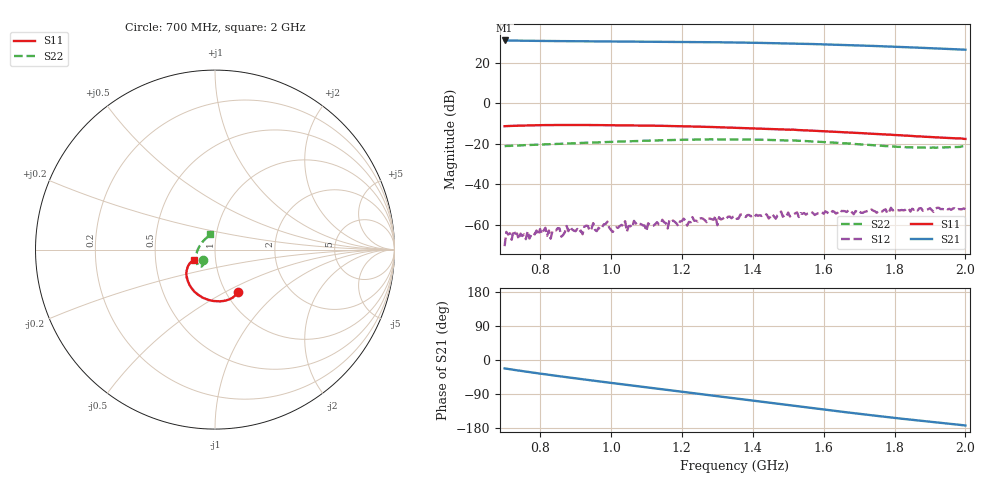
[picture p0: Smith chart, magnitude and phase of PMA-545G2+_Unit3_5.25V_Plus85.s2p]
!Mini-Circuits Laboratory
!S-Parameters
!Model: PMA-545G2+
!Run / Lot / Date Code: N/A / N/A / NA
!Fixture: NA; TEST BOARD: TB-607+
!AUTO PORT EXTENSION DONE: PORT<1>=120.99ps; PORT<2>=143.047ps
!Network Analyzer: PNA-X N5242A - 423 4 ports;  Serial number: 71256
!Date: 1/11/2011
!S/N: Unit# 3
# Hz  S  dB  R  50
!Frequency  S11 dB  S11 Deg  S21 dB  S21 Deg  S12 dB  S12 Deg  S22 dB  S22 Deg
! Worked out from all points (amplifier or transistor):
!   261 points, 700 MHz to 2 GHz, reference 50 ohm
!   highest |S21| = 30.9 dB at 700 MHz (marker M1)
!   |S21| within 3 dB of that: start of sweep to 1.787 GHz
!   unconditionally stable (mu >= 1): start of sweep to end of sweep
!   at 915 MHz: K = 18.64, MAG = 30.9 dB, |S12| = -62.8 dB
!   at 1.35 GHz: K = 8.99, MAG = 30.2 dB, |S12| = -55.6 dB
!   at 2 GHz: K = 9.59, MAG = 26.4 dB, |S12| = -52.2 dB
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7e8  -11.36 -61.7  30.86 -22.2  -70.44 130.8  -21.21 -139.1
7.05e8  -11.31 -62.3  30.84 -23.0  -63.40 150.1  -21.09 -138.7
7.55e8  -11.03 -67.2  30.72 -30.0  -64.64 139.0  -20.71 -135.8
8.15e8  -10.82 -73.0  30.61 -37.8  -61.40 115.1  -20.30 -133.0
8.3e8  -10.79 -74.3  30.58 -39.7  -66.72 103.8  -20.22 -132.1
8.75e8  -10.75 -78.8  30.52 -45.3  -60.49 129.0  -19.89 -130.3
9.2e8  -10.76 -83.2  30.46 -50.8  -64.56 117.5  -19.61 -129.3
9.5e8  -10.79 -86.2  30.43 -54.4  -59.07 133.6  -19.37 -128.4
1.035e9  -10.91 -94.4  30.34 -64.5  -60.46 134.5  -18.86 -127.7
1.135e9  -11.14 -103.7  30.24 -76.1  -59.65 131.9  -18.33 -128.4
1.19e9  -11.36 -108.9  30.17 -82.6  -60.57 123.5  -18.11 -130.1
1.245e9  -11.58 -113.7  30.09 -89.1  -58.32 127.7  -17.94 -132.1
1.29e9  -11.79 -117.7  30.00 -94.4  -57.42 118.5  -17.87 -134.5
1.35e9  -12.11 -122.8  29.86 -101.4  -55.63 125.2  -17.89 -138.1
1.445e9  -12.68 -130.5  29.59 -112.6  -56.80 116.4  -18.09 -145.5
1.515e9  -13.07 -135.7  29.35 -120.8  -54.81 113.8  -18.34 -151.4
1.57e9  -13.59 -139.6  29.10 -127.2  -54.13 113.1  -18.84 -158.3
1.635e9  -14.13 -143.4  28.77 -134.7  -54.40 107.6  -19.49 -167.2
1.68e9  -14.56 -145.8  28.53 -139.7  -53.82 109.5  -20.02 -174.5
1.785e9  -15.54 -150.0  27.88 -151.1  -53.44 101.0  -21.25 164.5
1.88e9  -16.47 -152.5  27.22 -161.0  -52.96 97.0  -21.89 140.0
2e9  -17.63 -153.5  26.31 -172.7  -52.17 97.9  -21.09 106.6
